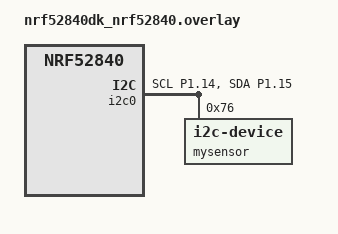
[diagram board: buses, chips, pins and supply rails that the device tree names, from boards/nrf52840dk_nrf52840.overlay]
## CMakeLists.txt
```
#
# Copyright (c) 2016 Intel Corporation
#
# SPDX-License-Identifier: Apache-2.0
#

cmake_minimum_required(VERSION 3.20.0)
find_package(Zephyr REQUIRED HINTS $ENV{ZEPHYR_BASE})
project(nrf_connect_sdk_fundamentals)

target_sources(app PRIVATE 
	src/main.c
	src/bmp280.c
)
```

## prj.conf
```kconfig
#
# Copyright (c) 2016 Intel Corporation
#
# SPDX-License-Identifier: Apache-2.0
#

# Enable the I2C driver
CONFIG_I2C=y
# Enable floating point format specifiers
CONFIG_CBPRINTF_FP_SUPPORT=y
# Enable Serial communication
CONFIG_SERIAL=y
CONFIG_UART_ASYNC_API=y
```

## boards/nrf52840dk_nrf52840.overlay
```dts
// To get started, press Ctrl+Space to bring up the completion menu and view the available nodes.
// For more help, browse the DeviceTree documentation at https://docs.zephyrproject.org/latest/guides/dts/index.html

&i2c0 {
    status = "okay";
    pinctrl-0 = <&i2c0_default>;
	pinctrl-1 = <&i2c0_sleep>;
    pinctrl-names = "default", "sleep";
    mysensor: mysensor@76{
        compatible = "i2c-device";
        status = "okay";
        reg = < 0x76 >;
    };
};

&pinctrl {
	/omit-if-no-ref/ i2c0_default: i2c0_default {
		group1  {
			psels = <NRF_PSEL(TWIM_SCL, 1, 14)>,
					<NRF_PSEL(TWIM_SDA, 1, 15)>;
		};
	};

	/omit-if-no-ref/ i2c0_sleep: i2c0_sleep {
		group1  {
			psels = <NRF_PSEL(TWIM_SCL, 1, 14)>,
					<NRF_PSEL(TWIM_SDA, 1, 15)>;
			low-power-enable;
		};
	};
};
```

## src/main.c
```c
#include <zephyr/kernel.h>
#include <zephyr/device.h>
#include <zephyr/devicetree.h>
#include <zephyr/drivers/i2c.h>
#include <zephyr/sys/printk.h>
#include <zephyr/drivers/uart.h>
#include "bmp280.h"
/* 1000 msec = 1 sec */
#define SLEEP_TIME_MS 100


#define I2C_NODE DT_NODELABEL(mysensor)

const struct device *uart = DEVICE_DT_GET(DT_NODELABEL(uart0));


int main(void)
{
	// Transmission buffer
	char tx_buf[50];

	if (!device_is_ready(uart)) {
		printk("UART device not ready\n");
		return 1;
	}

	//Retrieve the API-specific device structure and make sure that the device is ready to use  
	static const struct i2c_dt_spec dev_i2c = I2C_DT_SPEC_GET(I2C_NODE);

	int ret = deviceChecking(&dev_i2c);
	if(ret!=0){
		return -1;
	}
	
	//Collect and store calibration parameters
	bmp280data bmp280_data;
	
	bmp280_calibrationdata(&dev_i2c, &bmp280_data);

	ret = deviceConfiguration(&dev_i2c);
	if(ret!=0){
		return -1;
	}
	
	while (1) {

		//Read the temperature from the sensor
		uint8_t temp_val[3] = {0};

		int ret = i2c_burst_read_dt(&dev_i2c, TEMPMSB, temp_val, 3);

		if (ret != 0) {
			printk("Failed to read Temperature register %x \n", TEMPMSB);
			k_msleep(SLEEP_TIME_MS);
			continue;
		}

		//Read the pressure from sensor
		uint8_t press_val[3] = {0};
		ret = i2c_burst_read_dt(&dev_i2c, PRESSMSB, press_val, 3);

		if (ret != 0) {
			printk("Failed to read Pressure register %x \n", PRESSMSB);
			k_msleep(SLEEP_TIME_MS);
			continue;
		}

		
		// Put the data read from registers into actual order (see datasheet)
		int32_t adc_temp =
			(temp_val[0] << 12) | (temp_val[1] << 4) | ((temp_val[2] >> 4) & 0x0F);

		int32_t adc_press =
			(press_val[0] << 12) | (press_val[1] << 4) | ((press_val[2] >> 4) & 0x0F);

		//Compensate temperature
		int32_t comp_temp = bmp280_compensate_temp(&bmp280_data, adc_temp);

		//Compensate pressure
		int32_t comp_press = bmp280_compensate_press(&bmp280_data, adc_press);

		// Convert temperature 
		float temperature = (float)comp_temp / 100.0f;

		// Convert pressure to mmHg
		float pressure = (float)comp_press * 0.00750062f;
		
		

		// Print reading to console. Useful for debugging
		//printk("Temperature in Celsius : %8.2f C\n", (double)temperature);
		//printk("Pressure : %8.2f mmHg\n", (double)pressure);
		
		memset(tx_buf,'\0',sizeof(tx_buf)); //Initialize buffer with empty string
		sprintf(tx_buf,"%8.2f|%8.2f\r\n",(double)temperature,(double)pressure);

		
		//Send data through serial
		ret = uart_tx(uart, tx_buf, sizeof(tx_buf), SYS_FOREVER_MS);
		if (ret) {
			return 1;
		}

		k_msleep(SLEEP_TIME_MS);
	}
}
```

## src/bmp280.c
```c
#include "bmp280.h"


int32_t t_fine;

int deviceChecking(const struct i2c_dt_spec * dev_i2c){
    
    if (!device_is_ready(dev_i2c->bus)) {
        printk("I2C bus %s is not ready!\n", dev_i2c->bus->name);
        return -1;
    }
    
    //Check device ID and chip ID
    
    uint8_t id = 0;
    uint8_t regs[] = {ID};
    
    int ret = i2c_write_read_dt(dev_i2c, regs, 1, &id, 1);
    
    if (ret != 0) {
        printk("Failed to read register %x \n", regs[0]);
        return -1;
    }
    
    if (id != CHIP_ID) {
        printk("Invalid chip id! %x \n", id);
        return -1;
    }
    return 0;
}


int deviceConfiguration(const struct i2c_dt_spec * dev_i2c){
    uint8_t sensor_config[] = {CTRLMEAS, SENSOR_CONFIG_VALUE};

	int ret = i2c_write_dt(dev_i2c, sensor_config, 2);

	if (ret != 0) {
		printk("Failed to write register %x \n", sensor_config[0]);
		return -1;
	}

	uint8_t fir_standby_config[] = {CONFIG_REG, STANDBY_AND_FIR};

	ret = i2c_write_dt(dev_i2c, fir_standby_config, 2);

	if (ret != 0) {
		printk("Failed to write register %x \n", fir_standby_config[0]);
		return -1;
	}

    return 0;
}

void bmp280_calibrationdata(const struct i2c_dt_spec *spec, bmp280data *data)
{
	
	uint8_t values[24];

	int ret = i2c_burst_read_dt(spec, CALIB00, values, 24);

	if (ret != 0) {
		printk("Failed to read register %x \n", CALIB00);
		return;
	}

	data->dig_t1 = ((uint16_t)values[1]) << 8 | values[0];
	data->dig_t2 = ((int16_t)values[3]) << 8 | values[2];
	data->dig_t3 = ((int16_t)values[5]) << 8 | values[4];

    data->dig_P1 = ((uint16_t)values[7]) << 8 | values[6];
    data->dig_P2 = ((int16_t)values[9]) << 8 | values[8];
    data->dig_P3 = ((int16_t)values[11]) << 8 | values[10];
    data->dig_P4 = ((int16_t)values[13]) << 8 | values[12];
    data->dig_P5 = ((int16_t)values[15]) << 8 | values[14];
    data->dig_P6 = ((int16_t)values[17]) << 8 | values[16];
    data->dig_P7 = ((int16_t)values[19]) << 8 | values[18];
    data->dig_P8 = ((int16_t)values[21]) << 8 | values[20];
    data->dig_P9 = ((int16_t)values[23]) << 8 | values[22];
}

int32_t bmp280_compensate_temp(bmp280data *data, int32_t adc_temp)
{
	int32_t var1, var2;
    

	var1 = (((adc_temp >> 3) - ((int32_t)data->dig_t1 << 1)) * ((int32_t)data->dig_t2)) >> 11;

	var2 = (((((adc_temp >> 4) - ((int32_t)data->dig_t1)) *
		  ((adc_temp >> 4) - ((int32_t)data->dig_t1))) >>
		 12) *
		((int32_t)data->dig_t3)) >>
	       14;
    t_fine = var1 + var2;
	return ((var1 + var2) * 5 + 128) >> 8;
}

int32_t bmp280_compensate_press(bmp280data *data, int32_t adc_press){
    int32_t var1, var2;
    
    uint32_t p;
    var1 = ((t_fine)>>1) - (int32_t)64000;
    var2 = (((var1>>2) * (var1>>2)) >> 11 ) * ((int32_t)data->dig_P6);
    var2 = var2 + ((var1*((int32_t)data->dig_P5))<<1);
    var2 = (var2>>2)+(((int32_t)data->dig_P4)<<16);
    var1 = (((data->dig_P3 * (((var1>>2) * (var1>>2)) >> 13 )) >> 3) + ((((int32_t)data->dig_P2) * var1)>>1))>>18;
    var1 =((((32768+var1))*((int32_t)data->dig_P1))>>15);
    if (var1 == 0){
        return 0; // avoid exception caused by division by zero
    }
    p = (((uint32_t)(((int32_t)1048576)-adc_press)-(var2>>12)))*3125;
    if (p < 0x80000000){
        p = (p << 1) / ((uint32_t)var1);
    }
    else{
        p = (p / (uint32_t)var1) * 2;
    }
    var1 = (((int32_t)data->dig_P9) * ((int32_t)(((p>>3) * (p>>3))>>13)))>>12;
    var2 = (((int32_t)(p>>2)) * ((int32_t)data->dig_P8))>>13;
    p = (uint32_t)((int32_t)p + ((var1 + var2 + data->dig_P7) >> 4));
    return p;
}
//BMP280_U32_t = uint32_t
//BMP280_S32_t = int32_t
// BMP280_U32_t bmp280_compensate_P_int32(BMP280_S32_t adc_P)
// {
// BMP280_S32_t var1, var2;
// BMP280_U32_t p;
// var1 = (((BMP280_S32_t)t_fine)>>1) – (BMP280_S32_t)64000;
// var2 = (((var1>>2) * (var1>>2)) >> 11 ) * ((BMP280_S32_t)dig_P6);
// var2 = var2 + ((var1*((BMP280_S32_t)dig_P5))<<1);
// var2 = (var2>>2)+(((BMP280_S32_t)dig_P4)<<16);
// var1 = (((dig_P3 * (((var1>>2) * (var1>>2)) >> 13 )) >> 3) + ((((BMP280_S32_t)dig_P2) * var1)>>1))>>18;
// var1 =((((32768+var1))*((BMP280_S32_t)dig_P1))>>15);
// if (var1 == 0)
// {
// return 0; // avoid exception caused by division by zero
// }
// p = (((BMP280_U32_t)(((BMP280_S32_t)1048576)-adc_P)-(var2>>12)))*3125;
// if (p < 0x80000000)
// {
// p = (p << 1) / ((BMP280_U32_t)var1);
// }
// else
// {
// p = (p / (BMP280_U32_t)var1) * 2;
// }
// var1 = (((BMP280_S32_t)dig_P9) * ((BMP280_S32_t)(((p>>3) * (p>>3))>>13)))>>12;
// var2 = (((BMP280_S32_t)(p>>2)) * ((BMP280_S32_t)dig_P8))>>13;
// p = (BMP280_U32_t)((BMP280_S32_t)p + ((var1 + var2 + dig_P7) >> 4));
// return p;
// }
```

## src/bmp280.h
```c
#ifndef BMP280_H
#define BMP280_H

#include <zephyr/kernel.h>
#include <zephyr/device.h>
#include <zephyr/devicetree.h>
#include <zephyr/drivers/i2c.h>

//Important Registers
#define CTRLMEAS 0xF4
#define CALIB00	 0x88
#define ID	 0xD0
#define TEMPMSB	 0xFA
#define PRESSMSB	 0xF7
#define CONFIG_REG 0xF5


//Configuration Values
#define CHIP_ID  0x58
#define SENSOR_CONFIG_VALUE 0x2F
#define STANDBY_AND_FIR 0x0

typedef struct  {
	// Temperature Compensation Parameters
	uint16_t dig_t1;
	int16_t dig_t2;
	int16_t dig_t3;
    // Pressure Compensation Parameters
    uint16_t dig_P1;
    int16_t dig_P2;
    int16_t dig_P3;
    int16_t dig_P4;
    int16_t dig_P5;
    int16_t dig_P6;
    int16_t dig_P7;
    int16_t dig_P8;
    int16_t dig_P9;
}bmp280data;

 //Fine Temperature value used for pressure compensation

int deviceChecking(const struct i2c_dt_spec * dev_i2c);
int deviceConfiguration(const struct i2c_dt_spec * dev_i2c);
void bmp280_calibrationdata(const struct i2c_dt_spec *spec, bmp280data *data);
int32_t bmp280_compensate_temp(bmp280data *data, int32_t adc_temp);

#endif 
```
